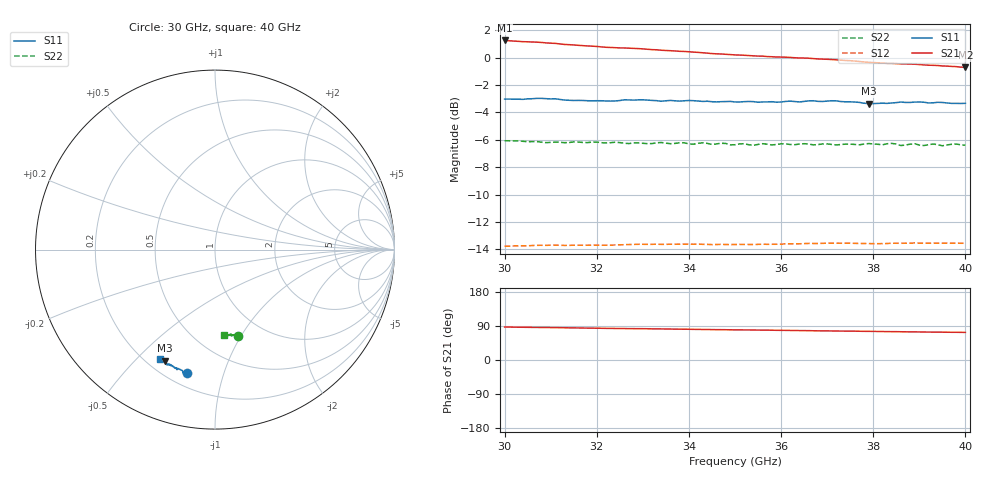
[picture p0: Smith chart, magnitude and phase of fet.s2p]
! Source: https://github.com/scikit-rf/scikit-rf/blob/950534a5928d5c99e3fea2beaec7d82519800b0c/skrf/tests/fet.s2p
! License: BSD-3-Clause
# Hz S RI R 50.0
!freq ReS11 ImS11 ReS21 ImS21 ReS12 ImS12 ReS22 ImS22
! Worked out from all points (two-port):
!   101 points, 30 GHz to 40 GHz, reference 50 ohm
!   highest |S21| = 1.25 dB at 30 GHz (marker M1); lowest = -0.7 dB at 40 GHz (marker M2)
!   |S21| within 3 dB of the highest: start of sweep to end of sweep
!   lowest |S11| = -3.4 dB at 37.9 GHz (marker M3), VSWR 5.24, Z = 13.3 - j30.7 ohm
!   |S11| at or under -10 dB: nowhere
!   |S22| runs from -6.4 to -6.1 dB; largest |S21 - S12| = 1.1
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3e10  -0.1573 -0.6876  0.0572 1.153  0.1947 0.0643  0.1292 -0.4799
3.03e10  -0.1726 -0.6831  0.0696 1.144  0.1955 0.063  0.1298 -0.4791
3.11e10  -0.177 -0.6846  0.0891 1.123  0.1976 0.0616  0.1171 -0.4774
3.17e10  -0.1923 -0.6701  0.1085 1.1  0.198 0.059  0.1133 -0.4766
3.25e10  -0.2115 -0.6639  0.1297 1.076  0.1994 0.0564  0.1109 -0.4767
3.3e10  -0.2111 -0.6686  0.1385 1.066  0.2007 0.0558  0.1037 -0.4754
3.34e10  -0.2138 -0.6589  0.1474 1.053  0.2009 0.0545  0.0992 -0.4797
3.4e10  -0.2253 -0.6597  0.1618 1.037  0.2019 0.0524  0.0944 -0.4748
3.46e10  -0.2388 -0.6461  0.1783 1.016  0.2019 0.0497  0.0859 -0.4765
3.48e10  -0.2458 -0.6456  0.1807 1.012  0.202 0.0496  0.0933 -0.4768
3.5e10  -0.2447 -0.6437  0.1859 1.005  0.2021 0.0487  0.0839 -0.4733
3.52e10  -0.2495 -0.6436  0.1877 1.002  0.2023 0.0488  0.0911 -0.4762
3.55e10  -0.2484 -0.6404  0.1939 0.9935  0.2025 0.048  0.0814 -0.4751
3.67e10  -0.2697 -0.6412  0.2203 0.9663  0.2048 0.0453  0.0734 -0.4745
3.76e10  -0.2729 -0.6318  0.2331 0.9423  0.2054 0.0433  0.0636 -0.4776
3.79e10  -0.2792 -0.6192  0.2388 0.9302  0.2053 0.042  0.062 -0.4815
3.84e10  -0.2921 -0.6169  0.2495 0.9187  0.2063 0.0404  0.063 -0.4821
3.86e10  -0.2956 -0.6211  0.2529 0.9139  0.2063 0.0394  0.0598 -0.4737
3.89e10  -0.2985 -0.6195  0.2577 0.9097  0.207 0.0391  0.0595 -0.4811
3.92e10  -0.2995 -0.6136  0.2634 0.8999  0.2068 0.0377  0.0494 -0.4782
3.94e10  -0.3017 -0.6168  0.264 0.897  0.2071 0.038  0.0559 -0.4776
4e10  -0.3058 -0.6082  0.2724 0.8799  0.207 0.0359  0.0478 -0.4765
